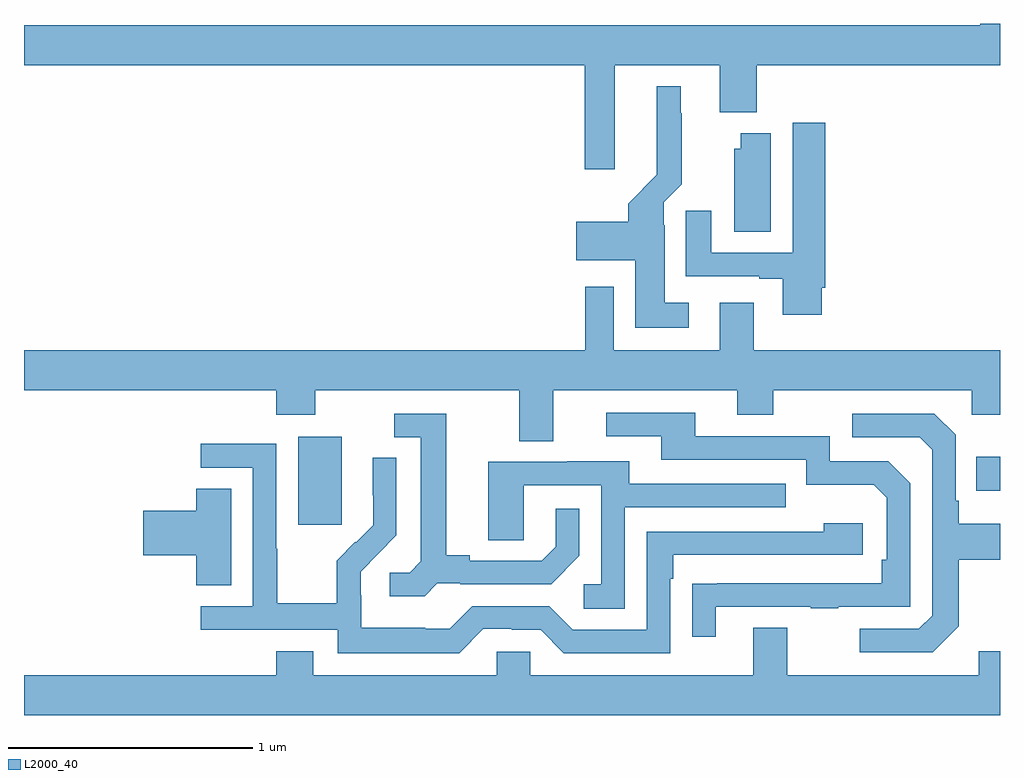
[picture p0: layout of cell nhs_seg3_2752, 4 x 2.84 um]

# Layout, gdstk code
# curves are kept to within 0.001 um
import gdstk
lib = gdstk.Library(unit=1e-6, precision=1e-09)
def R(c, l, rs):  # rectangles x0, y0, x1, y1
    for r in rs: c.add(gdstk.rectangle(r[:2], r[2:], *l))
def P(c, l, *ps):  # polygons
    for p in ps: c.add(gdstk.Polygon(p, *l))
L2000_40 = (2000, 40)

nhs_seg3_2752 = lib.new_cell('nhs_seg3_2752')
R(nhs_seg3_2752, L2000_40, [(254.123,720.345,254.302,720.706), (256.903,720.485,257,720.625)])
P(nhs_seg3_2752, L2000_40, [(255.421,722.228),(255.851,722.228),(255.851,722.036),(256.004,722.036),(256.004,722.228),(257,722.228),(257,722.4),(256.919,722.4),(256.919,722.392),(253,722.392),(253,722.228),(255.299,722.228),(255.299,721.803),(255.421,721.803)],
  [(255.724,721.255),(255.625,721.255),(255.625,721.574),(255.621,721.574),(255.621,721.668),(255.695,721.742),(255.695,722.033),(255.691,722.033),(255.691,722.143),(255.593,722.143),(255.594,721.78),(255.476,721.662),(255.476,721.588),(255.264,721.588),(255.264,721.43),(255.506,721.43),(255.506,721.154),(255.724,721.154)],
  [(256.27,721.318),(256.283,721.318),(256.283,721.993),(256.151,721.993),(256.151,721.461),(255.817,721.461),(255.817,721.633),(255.713,721.633),(255.713,721.365),(256.013,721.365),(256.013,721.353),(256.109,721.353),(256.109,721.206),(256.27,721.206)],
  [(256.06,721.951),(255.938,721.951),(255.938,721.887),(255.911,721.887),(255.911,721.546),(256.06,721.546)],
  [(255.169,720.896),(255.923,720.896),(255.923,720.797),(256.071,720.797),(256.071,720.896),(256.884,720.896),(256.884,720.797),(257,720.797),(257,721.06),(255.991,721.06),(255.991,721.255),(255.851,721.255),(255.851,721.06),(255.417,721.06),(255.417,721.321),(255.301,721.321),(255.301,721.06),(253,721.06),(253,720.896),(254.033,720.896),(254.033,720.797),(254.193,720.797),(254.193,720.896),(255.029,720.896),(255.029,720.688),(255.169,720.688)],
  [(255.835,720.009),(256.225,720.009),(256.225,720.004),(256.337,720.004),(256.337,720.009),(256.632,720.009),(256.632,720.516),(256.542,720.606),(256.302,720.606),(256.302,720.708),(255.751,720.708),(255.751,720.804),(255.387,720.804),(255.387,720.708),(255.611,720.708),(255.611,720.612),(256.206,720.612),(256.206,720.509),(256.483,720.509),(256.536,720.456),(256.536,720.202),(256.516,720.202),(256.516,720.105),(255.739,720.104),(255.739,719.886),(255.835,719.886)],
  [(256.831,719.929),(256.831,720.202),(257,720.202),(257,720.349),(256.831,720.349),(256.831,720.445),(256.818,720.445),(256.818,720.714),(256.731,720.801),(256.395,720.801),(256.395,720.705),(256.671,720.705),(256.722,720.654),(256.722,719.973),(256.668,719.919),(256.425,719.919),(256.425,719.823),(256.725,719.823)],
  [(254.694,720.105),(254.788,720.105),(254.788,720.102),(255.16,720.102),(255.276,720.218),(255.276,720.412),(255.179,720.412),(255.179,720.255),(255.122,720.198),(254.827,720.198),(254.827,720.221),(254.731,720.221),(254.731,720.801),(254.517,720.801),(254.517,720.705),(254.627,720.705),(254.627,720.197),(254.58,720.15),(254.499,720.15),(254.499,720.053),(254.642,720.053)],
  [(254.883,719.919),(254.999,719.919),(254.999,719.916),(255.117,719.916),(255.213,719.82),(255.648,719.82),(255.648,720.125),(255.661,720.125),(255.661,720.222),(256.438,720.222),(256.438,720.352),(256.277,720.352),(256.277,720.318),(255.552,720.318),(255.552,719.916),(255.249,719.916),(255.153,720.012),(254.838,720.012),(254.745,719.919),(254.645,719.919),(254.645,719.923),(254.382,719.923),(254.382,720.057),(254.38,720.057),(254.38,720.154),(254.526,720.302),(254.526,720.62),(254.43,720.62),(254.43,720.466),(254.432,720.466),(254.432,720.344),(254.361,720.273),(254.358,720.276),(254.281,720.199),(254.281,720.025),(254.037,720.025),(254.037,720.248),(254.034,720.248),(254.034,720.678),(253.725,720.678),(253.725,720.579),(253.938,720.579),(253.938,720.012),(253.725,720.012),(253.725,719.916),(254.286,719.916),(254.286,719.819),(254.783,719.819)],
  [(255.462,720.417),(256.121,720.417),(256.121,720.513),(255.481,720.513),(255.481,720.607),(255.227,720.607),(255.227,720.603),(254.903,720.603),(254.903,720.283),(255.048,720.283),(255.048,720.507),(255.366,720.507),(255.366,720.102),(255.294,720.102),(255.294,720.001),(255.462,720.001)],
  [(253.849,720.494),(253.706,720.494),(253.706,720.404),(253.488,720.404),(253.488,720.221),(253.706,720.221),(253.706,720.097),(253.849,720.097)],
  [(257,719.827),(256.913,719.827),(256.913,719.728),(256.129,719.728),(256.129,719.923),(255.989,719.923),(255.989,719.728),(255.075,719.728),(255.075,719.826),(254.937,719.826),(254.937,719.728),(254.185,719.728),(254.185,719.827),(254.033,719.827),(254.033,719.728),(253,719.728),(253,719.564),(257,719.564)])

lib.write_gds('nhs_seg3_2752.gds')
